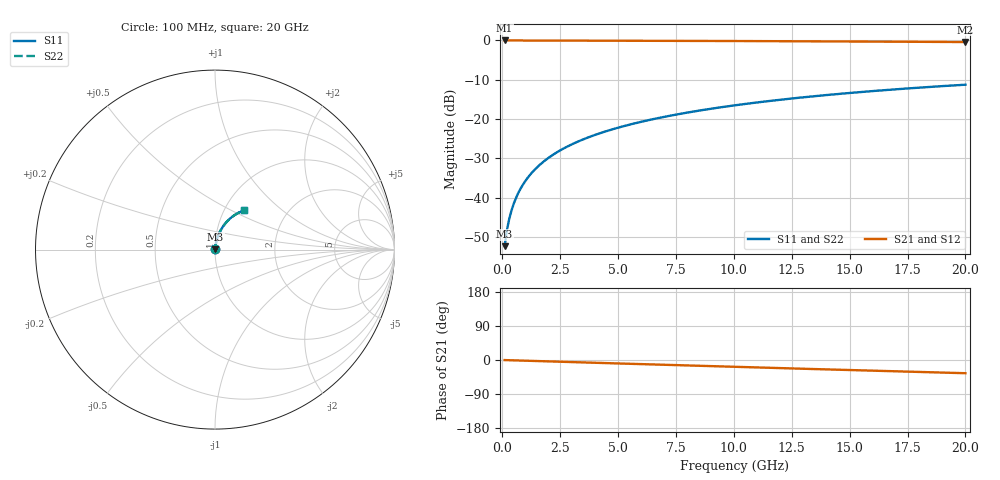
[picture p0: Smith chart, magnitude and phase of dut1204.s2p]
! Touchstone file exported from HFSS 2026.1.0
!  File:  C:/ffzhzh/LocalFiles/Ansys_Project_Files/temp_train_TMRDL_1204_1783163027_55132.aedt
!  Generated:  07:05:03 PM Jul  4, 2026
!  Design:  TMRDL
!  Project:  temp_train_TMRDL_1204_1783163027_55132
! Variables:
!  h_bsmrdl = 2um
!  h_ox = 20um
!  h_rdl = 5um
!  h_sub = 80um
!  h_tmrdl = 5.55um
!  h_tsv = 80um
!  h_via = 3um
!  l_bsmrdl = 300um
!  l_sub = 933.92um
!  l_tmrdl = 533.92um
!  m_sub = 200um
!  pitch = 45.78um
!  r_tsv = 6um
!  s_tmrdl = 10um
!  w_bsmrdl = 18um
!  w_sub = 500um
!  w_tmrdl = 23.81um
!  x_tsv_center1 = 545.825um
!  x_tsv_center2 = 863.825um
!  x_tsv_center3 = 1421.555um
!  x_tsv_center4 = 1739.555um
!  x_tsv_center5 = 2297.285um
!  x_tsv_center6 = 2615.285um
# GHz S MA R 50.000000
! Terminal data exported
! Port[1] = TM_RDL1_1_T1
! Port[2] = TM_RDL1_1_T2
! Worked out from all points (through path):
!   200 points, 100 MHz to 20 GHz, reference 50 ohm
!   highest |S21| = -0.01 dB at 100 MHz (marker M1); lowest = -0.4 dB at 20 GHz (marker M2)
!   group delay of S21, straight-line fit = 4.83 ps
!   lowest |S11| = -52.4 dB at 100 MHz (marker M3), VSWR 1.00, Z = 50.2 + j0.179 ohm
!   |S11| at or under -10 dB: start of sweep to end of sweep
!   |S22| runs from -52.4 to -11.3 dB; largest |S21 - S12| = 2.7e-15
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0.1  0.002408 47.7  0.9984 -0.2  0.9984 -0.2  0.002408 47.7
! Gamma 0 0 0 0
! Port Impedance 50 0 50 0
0.2  0.00386 62.7  0.9982 -0.4  0.9982 -0.4  0.00386 62.7
0.3  0.005363 69.4  0.9981 -0.6  0.9981 -0.6  0.005363 69.4
0.4  0.006893 73.3  0.9981 -0.8  0.9981 -0.8  0.006893 73.3
0.5  0.008444 75.8  0.998 -0.9  0.998 -0.9  0.008444 75.8
0.6  0.01001 77.5  0.998 -1.1  0.998 -1.1  0.01001 77.5
0.8  0.01316 79.5  0.9979 -1.5  0.9979 -1.5  0.01316 79.5
1.1  0.01792 80.9  0.9976 -2.0  0.9976 -2.0  0.01792 80.9
1.3  0.02109 81.3  0.9975 -2.4  0.9975 -2.4  0.02109 81.3
1.5  0.02425 81.5  0.9973 -2.8  0.9973 -2.8  0.02425 81.5
1.8  0.02897 81.5  0.997 -3.3  0.997 -3.3  0.02897 81.5
2.1  0.03366 81.4  0.9966 -3.9  0.9966 -3.9  0.03366 81.4
2.7  0.04294 80.7  0.9959 -5.0  0.9959 -5.0  0.04294 80.7
3.5  0.05513 79.7  0.9947 -6.4  0.9947 -6.4  0.05513 79.7
4.2  0.06564 78.6  0.9936 -7.7  0.9936 -7.7  0.06564 78.6
5  0.07749 77.4  0.9923 -9.1  0.9923 -9.1  0.0775 77.4
6.8  0.1037 74.6  0.989 -12.3  0.989 -12.3  0.1037 74.6
8.3  0.125 72.2  0.9859 -14.9  0.9859 -14.9  0.125 72.2
10.1  0.15 69.3  0.9819 -18.1  0.9819 -18.1  0.15 69.3
13.4  0.194 63.9  0.9733 -23.8  0.9733 -23.8  0.194 63.9
16.7  0.2351 58.6  0.9635 -29.4  0.9635 -29.4  0.2351 58.6
20  0.2731 53.3  0.953 -34.9  0.953 -34.9  0.2731 53.3
